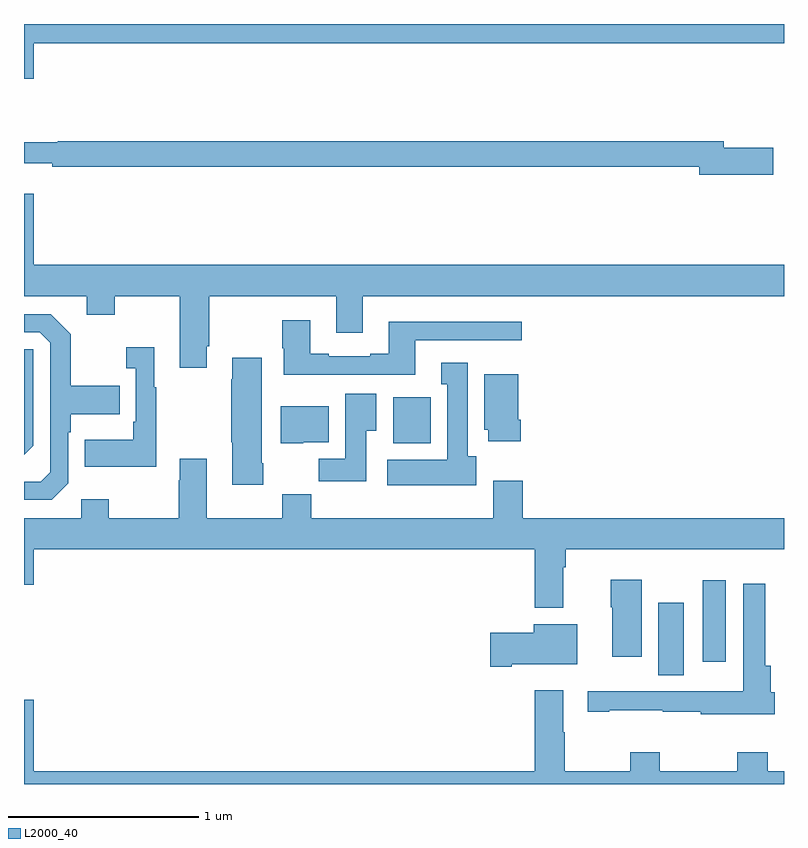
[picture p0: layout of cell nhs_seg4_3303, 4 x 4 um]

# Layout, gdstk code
import gdstk
lib = gdstk.Library(unit=1e-6, precision=1e-09)
def R(c, l, rs):  # rectangles x0, y0, x1, y1
    for r in rs: c.add(gdstk.rectangle(r[:2], r[2:], *l))
def P(c, l, *ps):  # polygons
    for p in ps: c.add(gdstk.Polygon(p, *l))
L2000_40 = (2000, 40)

nhs_seg4_3303 = lib.new_cell('nhs_seg4_3303')
R(nhs_seg4_3303, L2000_40, [(288.338,813.472,288.472,813.853), (288.572,813.543,288.694,813.973), (286.943,814.694,287.14,814.936)])
P(nhs_seg4_3303, L2000_40, [(289,816.9),(285,816.9),(285,816.612),(285.052,816.612),(285.052,816.8),(289,816.8)],
  [(288.943,816.248),(288.682,816.248),(288.682,816.284),(285.178,816.284),(285.178,816.277),(285,816.277),(285,816.167),(285.148,816.167),(285.148,816.148),(288.554,816.148),(288.554,816.106),(288.943,816.106)],
  [(285.961,815.203),(285.974,815.203),(285.974,815.468),(286.643,815.468),(286.643,815.274),(286.783,815.274),(286.783,815.468),(289,815.468),(289,815.632),(285.052,815.632),(285.052,816.007),(285,816.007),(285,815.468),(285.329,815.468),(285.329,815.369),(285.477,815.369),(285.477,815.468),(285.821,815.468),(285.821,815.091),(285.961,815.091)],
  [(285.234,814.482),(285.234,814.751),(285.247,814.751),(285.247,814.847),(285.503,814.847),(285.503,814.995),(285.247,814.995),(285.247,815.267),(285.141,815.373),(285,815.373),(285,815.277),(285.084,815.277),(285.138,815.223),(285.138,814.542),(285.087,814.491),(285,814.491),(285,814.395),(285.147,814.395)],
  [(286.599,815.055),(287.059,815.055),(287.059,815.235),(287.62,815.235),(287.62,815.332),(286.919,815.332),(286.919,815.164),(286.823,815.164),(286.823,815.151),(286.603,815.151),(286.603,815.164),(286.507,815.164),(286.507,815.341),(286.36,815.341),(286.36,815.193),(286.367,815.193),(286.367,815.054),(286.599,815.054)],
  [(285.697,814.987),(285.685,814.987),(285.685,815.2),(285.537,815.2),(285.537,815.087),(285.588,815.087),(285.588,814.807),(285.576,814.807),(285.576,814.711),(285.319,814.711),(285.319,814.571),(285.697,814.571)],
  [(285.048,814.68),(285.048,815.187),(285,815.187),(285,814.632)],
  [(286.26,814.588),(286.252,814.588),(286.252,815.143),(286.097,815.143),(286.097,815.03),(286.09,815.03),(286.09,814.699),(286.097,814.699),(286.097,814.476),(286.26,814.476)],
  [(287.38,814.626),(287.335,814.626),(287.335,815.116),(287.195,815.116),(287.195,815.003),(287.228,815.003),(287.228,814.606),(286.911,814.606),(286.911,814.472),(287.38,814.472)],
  [(287.615,814.816),(287.602,814.816),(287.602,815.056),(287.423,815.056),(287.423,814.764),(287.444,814.764),(287.444,814.704),(287.615,814.704)],
  [(286.801,814.76),(286.855,814.76),(286.855,814.954),(286.691,814.954),(286.691,814.612),(286.552,814.612),(286.552,814.494),(286.801,814.494)],
  [(286.47,814.7),(286.603,814.7),(286.603,814.888),(286.352,814.888),(286.352,814.694),(286.47,814.694)],
  [(287.839,814.04),(287.852,814.04),(287.852,814.136),(289,814.136),(289,814.3),(287.624,814.3),(287.624,814.495),(287.471,814.495),(287.471,814.3),(286.511,814.3),(286.511,814.424),(286.36,814.424),(286.36,814.3),(285.961,814.3),(285.961,814.612),(285.821,814.612),(285.821,814.499),(285.814,814.499),(285.814,814.3),(285.447,814.3),(285.447,814.399),(285.3,814.399),(285.3,814.3),(285,814.3),(285,813.948),(285.052,813.948),(285.052,814.136),(287.687,814.136),(287.687,813.827),(287.839,813.827)],
  [(288.25,813.976),(288.089,813.976),(288.089,813.831),(288.095,813.831),(288.095,813.57),(288.25,813.57)],
  [(288.95,813.384),(288.929,813.384),(288.929,813.523),(288.902,813.523),(288.902,813.955),(288.786,813.955),(288.786,813.388),(288.561,813.388),(288.561,813.387),(288.242,813.387),(288.242,813.389),(287.967,813.389),(287.967,813.279),(288.079,813.279),(288.079,813.289),(288.361,813.289),(288.361,813.279),(288.561,813.279),(288.561,813.266),(288.95,813.266)],
  [(287.566,813.53),(287.911,813.53),(287.911,813.742),(287.684,813.742),(287.684,813.696),(287.454,813.696),(287.454,813.518),(287.566,813.518)],
  [(289,812.968),(288.914,812.968),(288.914,813.067),(288.754,813.067),(288.754,812.968),(288.345,812.968),(288.345,813.067),(288.19,813.067),(288.19,812.968),(287.847,812.968),(287.847,813.173),(287.839,813.173),(287.839,813.394),(287.687,813.394),(287.687,812.968),(285.052,812.968),(285.052,813.343),(285,813.343),(285,812.9),(289,812.9)])

lib.write_gds('nhs_seg4_3303.gds')
